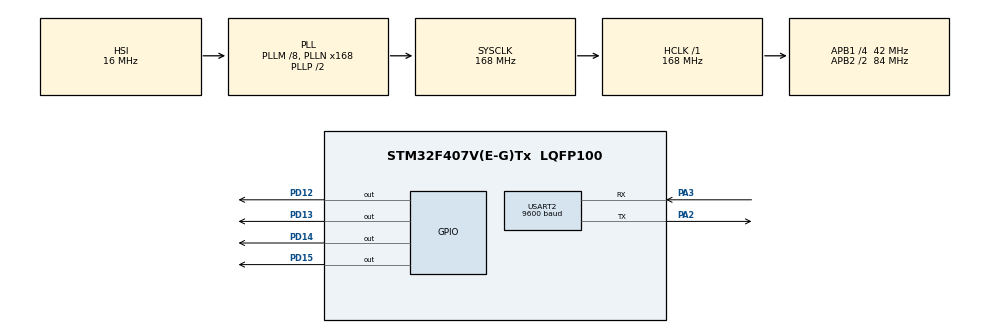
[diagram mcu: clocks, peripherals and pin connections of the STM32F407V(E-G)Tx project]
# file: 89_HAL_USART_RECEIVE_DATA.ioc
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Mcu.Family=STM32F4
Mcu.Name=STM32F407V(E-G)Tx
Mcu.Package=LQFP100
NVIC.PriorityGroup=NVIC_PRIORITYGROUP_4
PA2.Mode=Asynchronous
PA2.Signal=USART2_TX
PA3.Mode=Asynchronous
PA3.Signal=USART2_RX
PD12.Signal=GPIO_Output
PD13.Signal=GPIO_Output
PD14.Signal=GPIO_Output
PD15.Signal=GPIO_Output
ProjectManager.HeapSize=0x200
ProjectManager.StackSize=0x400
ProjectManager.TargetToolchain=STM32CubeIDE
RCC.48MHZClocksFreq_Value=84000000
RCC.AHBFreq_Value=168000000
RCC.APB1CLKDivider=RCC_HCLK_DIV4
RCC.APB1Freq_Value=42000000
RCC.APB1TimFreq_Value=84000000
RCC.APB2CLKDivider=RCC_HCLK_DIV2
RCC.APB2Freq_Value=84000000
RCC.APB2TimFreq_Value=168000000
RCC.CortexFreq_Value=168000000
RCC.HCLKFreq_Value=168000000
RCC.HSE_VALUE=25000000
RCC.HSI_VALUE=16000000
RCC.LSE_VALUE=32768
RCC.PLLM=8
RCC.PLLN=168
RCC.SYSCLKFreq_VALUE=168000000
RCC.SYSCLKSource=RCC_SYSCLKSOURCE_PLLCLK
RCC.VCOOutputFreq_Value=336000000
USART2.BaudRate=9600
USART2.VirtualMode=VM_ASYNC
board=custom

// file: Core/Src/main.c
/* USER CODE BEGIN Header */
/**
  ******************************************************************************
  * @file           : main.c
  * @brief          : Main program body
  ******************************************************************************
  * @attention
  *
  * <h2><center>&copy; Copyright (c) 2020 STMicroelectronics.
  * All rights reserved.</center></h2>
  *
  * This software component is licensed by ST under BSD 3-Clause license,
  * the "License"; You may not use this file except in compliance with the
  * License. You may obtain a copy of the License at:
  *                        opensource.org/licenses/BSD-3-Clause
  *
  ******************************************************************************
  */
/* USER CODE END Header */

#include "main.h"

UART_HandleTypeDef huart2;

/* USER CODE BEGIN PV */

char rx_buff[50]; // DİKKAT !!! seri haberlesme(8bit) yaptigimiz icin 8 bit e cevirmeyi unutma
char tx_buff[50];
/* USER CODE END PV */

void SystemClock_Config(void);
static void MX_GPIO_Init(void);
static void MX_USART2_UART_Init(void);

int main(void)
{

  /* MCU Configuration--------------------------------------------------------*/

  /* Reset of all peripherals, Initializes the Flash interface and the Systick. */
  HAL_Init();

  /* Configure the system clock */
  SystemClock_Config();

  /* Initialize all configured peripherals */
  MX_GPIO_Init();
  MX_USART2_UART_Init();

  /* Infinite loop */
  while (1)
  {

    /* USER CODE BEGIN 3 */

	  HAL_UART_Receive(&huart2, (uint8_t*)rx_buff, 50, 100); // UART2 , 8 bitlik data , max 50 adet deger alacagiz , 100

	  if(rx_buff[0] == 'l' && rx_buff[1] == 'e' && rx_buff[2] == 'd' && rx_buff[3] == '1' && rx_buff[4] == ' ' && rx_buff[5] == 'o' && rx_buff[6] == 'n')
	  {
	  HAL_GPIO_WritePin(GPIOD, GPIO_PIN_12, GPIO_PIN_SET);
	  HAL_UART_Transmit(&huart2, (uint8_t*)tx_buff, sprintf(tx_buff , "Birinci Led Yandi"), 100);
	  }

	  else if(rx_buff[0] == 'l' && rx_buff[1] == 'e' && rx_buff[2] == 'd' && rx_buff[3] == '1' && rx_buff[4] == ' ' && rx_buff[5] == 'o' && rx_buff[6] == 'f' && rx_buff[7] == 'f')
	  HAL_GPIO_WritePin(GPIOD, GPIO_PIN_12, GPIO_PIN_RESET);

	  if(rx_buff[0] == 'l' && rx_buff[1] == 'e' && rx_buff[2] == 'd' && rx_buff[3] == '2' && rx_buff[4] == ' ' && rx_buff[5] == 'o' && rx_buff[6] == 'n')
	  HAL_GPIO_WritePin(GPIOD, GPIO_PIN_13, GPIO_PIN_SET);

	  else if(rx_buff[0] == 'l' && rx_buff[1] == 'e' && rx_buff[2] == 'd' && rx_buff[3] == '2' && rx_buff[4] == ' ' && rx_buff[5] == 'o' && rx_buff[6] == 'f' && rx_buff[7] == 'f')
	  HAL_GPIO_WritePin(GPIOD, GPIO_PIN_13, GPIO_PIN_RESET);

	  if(rx_buff[0] == 'l' && rx_buff[1] == 'e' && rx_buff[2] == 'd' && rx_buff[3] == '3' && rx_buff[4] == ' ' && rx_buff[5] == 'o' && rx_buff[6] == 'n')
	  HAL_GPIO_WritePin(GPIOD, GPIO_PIN_14, GPIO_PIN_SET);

	  else if(rx_buff[0] == 'l' && rx_buff[1] == 'e' && rx_buff[2] == 'd' && rx_buff[3] == '3' && rx_buff[4] == ' ' && rx_buff[5] == 'o' && rx_buff[6] == 'f' && rx_buff[7] == 'f')
	  HAL_GPIO_WritePin(GPIOD, GPIO_PIN_14, GPIO_PIN_RESET);

	  if(rx_buff[0] == 'l' && rx_buff[1] == 'e' && rx_buff[2] == 'd' && rx_buff[3] == '4' && rx_buff[4] == ' ' && rx_buff[5] == 'o' && rx_buff[6] == 'n')
	  HAL_GPIO_WritePin(GPIOD, GPIO_PIN_15, GPIO_PIN_SET);

	  else if(rx_buff[0] == 'l' && rx_buff[1] == 'e' && rx_buff[2] == 'd' && rx_buff[3] == '4' && rx_buff[4] == ' ' && rx_buff[5] == 'o' && rx_buff[6] == 'f' && rx_buff[7] == 'f')
	  HAL_GPIO_WritePin(GPIOD, GPIO_PIN_15, GPIO_PIN_RESET);
  }
  /* USER CODE END 3 */
}

void SystemClock_Config(void)
{
  RCC_OscInitTypeDef RCC_OscInitStruct = {0};
  RCC_ClkInitTypeDef RCC_ClkInitStruct = {0};

  /** Configure the main internal regulator output voltage
  */
  __HAL_RCC_PWR_CLK_ENABLE();
  __HAL_PWR_VOLTAGESCALING_CONFIG(PWR_REGULATOR_VOLTAGE_SCALE1);
  /** Initializes the CPU, AHB and APB busses clocks
  */
  RCC_OscInitStruct.OscillatorType = RCC_OSCILLATORTYPE_HSI;
  RCC_OscInitStruct.HSIState = RCC_HSI_ON;
  RCC_OscInitStruct.HSICalibrationValue = RCC_HSICALIBRATION_DEFAULT;
  RCC_OscInitStruct.PLL.PLLState = RCC_PLL_ON;
  RCC_OscInitStruct.PLL.PLLSource = RCC_PLLSOURCE_HSI;
  RCC_OscInitStruct.PLL.PLLM = 8;
  RCC_OscInitStruct.PLL.PLLN = 168;
  RCC_OscInitStruct.PLL.PLLP = RCC_PLLP_DIV2;
  RCC_OscInitStruct.PLL.PLLQ = 4;
  if (HAL_RCC_OscConfig(&RCC_OscInitStruct) != HAL_OK)
  {
    Error_Handler();
  }
  /** Initializes the CPU, AHB and APB busses clocks
  */
  RCC_ClkInitStruct.ClockType = RCC_CLOCKTYPE_HCLK|RCC_CLOCKTYPE_SYSCLK
                              |RCC_CLOCKTYPE_PCLK1|RCC_CLOCKTYPE_PCLK2;
  RCC_ClkInitStruct.SYSCLKSource = RCC_SYSCLKSOURCE_PLLCLK;
  RCC_ClkInitStruct.AHBCLKDivider = RCC_SYSCLK_DIV1;
  RCC_ClkInitStruct.APB1CLKDivider = RCC_HCLK_DIV4;
  RCC_ClkInitStruct.APB2CLKDivider = RCC_HCLK_DIV2;

  if (HAL_RCC_ClockConfig(&RCC_ClkInitStruct, FLASH_LATENCY_5) != HAL_OK)
  {
    Error_Handler();
  }
}

static void MX_USART2_UART_Init(void)
{

  huart2.Instance = USART2;
  huart2.Init.BaudRate = 9600;
  huart2.Init.WordLength = UART_WORDLENGTH_8B;
  huart2.Init.StopBits = UART_STOPBITS_1;
  huart2.Init.Parity = UART_PARITY_NONE;
  huart2.Init.Mode = UART_MODE_TX_RX;
  huart2.Init.HwFlowCtl = UART_HWCONTROL_NONE;
  huart2.Init.OverSampling = UART_OVERSAMPLING_16;
  if (HAL_UART_Init(&huart2) != HAL_OK)
  {
    Error_Handler();
  }

}

static void MX_GPIO_Init(void)
{
  GPIO_InitTypeDef GPIO_InitStruct = {0};

  /* GPIO Ports Clock Enable */
  __HAL_RCC_GPIOA_CLK_ENABLE();
  __HAL_RCC_GPIOD_CLK_ENABLE();

  /*Configure GPIO pin Output Level */
  HAL_GPIO_WritePin(GPIOD, GPIO_PIN_12|GPIO_PIN_13|GPIO_PIN_14|GPIO_PIN_15, GPIO_PIN_RESET);

  /*Configure GPIO pins : PD12 PD13 PD14 PD15 */
  GPIO_InitStruct.Pin = GPIO_PIN_12|GPIO_PIN_13|GPIO_PIN_14|GPIO_PIN_15;
  GPIO_InitStruct.Mode = GPIO_MODE_OUTPUT_PP;
  GPIO_InitStruct.Pull = GPIO_NOPULL;
  GPIO_InitStruct.Speed = GPIO_SPEED_FREQ_LOW;
  HAL_GPIO_Init(GPIOD, &GPIO_InitStruct);

}

void Error_Handler(void)
{
}

/************************ (C) COPYRIGHT STMicroelectronics *****END OF FILE****/
